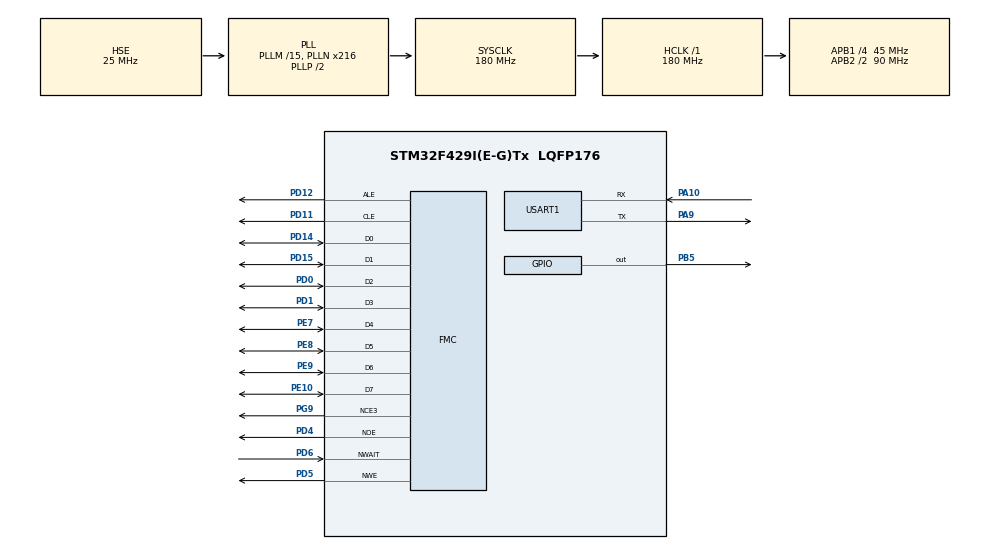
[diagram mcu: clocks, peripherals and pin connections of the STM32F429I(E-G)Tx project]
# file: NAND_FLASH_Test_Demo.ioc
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FMC.AttributeSpaceHiZSetupTime1=1
FMC.AttributeSpaceHoldSetupTime1=3
FMC.AttributeSpaceSetupTime1=2
FMC.AttributeSpaceWaitSetupTime1=3
FMC.CommonSpaceHiZSetupTime1=1
FMC.CommonSpaceHoldSetupTime1=3
FMC.CommonSpaceSetupTime1=2
FMC.CommonSpaceWaitSetupTime1=3
FMC.ECCPageSize1=FMC_NAND_ECC_PAGE_SIZE_2048BYTE
FMC.EccComputation1=FMC_NAND_ECC_DISABLE
FMC.NandBlockNbr1=2048
FMC.NandBlockSize1=64
FMC.NandExtraCommandEnable1=ENABLE
FMC.NandPageSize1=2048
FMC.NandPlaneNbr1=2
FMC.NandPlaneSize1=4096
FMC.NandSpareAreaSize1=64
FMC.TARSetupTime1=1
FMC.TCLRSetupTime1=0
Mcu.Family=STM32F4
Mcu.Name=STM32F429I(E-G)Tx
Mcu.Package=LQFP176
NVIC.PriorityGroup=NVIC_PRIORITYGROUP_4
PA10.Mode=Asynchronous
PA10.Signal=USART1_RX
PA13.Mode=Serial_Wire
PA13.Signal=SYS_JTMS-SWDIO
PA14.Mode=Serial_Wire
PA14.Signal=SYS_JTCK-SWCLK
PA9.Mode=Asynchronous
PA9.Signal=USART1_TX
PB5.Signal=GPIO_Output
PD0.Signal=FMC_D2_DA2
PD1.Signal=FMC_D3_DA3
PD11.Signal=FMC_A16_CLE
PD12.Signal=FMC_A17_ALE
PD14.Signal=FMC_D0_DA0
PD15.Signal=FMC_D1_DA1
PD4.Signal=FMC_NOE
PD5.Signal=FMC_NWE
PD6.Signal=FMC_NWAIT
PE10.Signal=FMC_D7_DA7
PE7.Signal=FMC_D4_DA4
PE8.Signal=FMC_D5_DA5
PE9.Signal=FMC_D6_DA6
PG9.Mode=NandChipSelect3_1
PG9.Signal=FMC_NCE3
PH0/OSC_IN.Mode=HSE-External-Oscillator
PH0/OSC_IN.Signal=RCC_OSC_IN
PH1/OSC_OUT.Mode=HSE-External-Oscillator
PH1/OSC_OUT.Signal=RCC_OSC_OUT
ProjectManager.HeapSize=0x200
ProjectManager.StackSize=0x400
ProjectManager.TargetToolchain=Makefile
RCC.48MHZClocksFreq_Value=90000000
RCC.AHBFreq_Value=180000000
RCC.APB1CLKDivider=RCC_HCLK_DIV4
RCC.APB1Freq_Value=45000000
RCC.APB1TimFreq_Value=90000000
RCC.APB2CLKDivider=RCC_HCLK_DIV2
RCC.APB2Freq_Value=90000000
RCC.APB2TimFreq_Value=180000000
RCC.CortexFreq_Value=180000000
RCC.HCLKFreq_Value=180000000
RCC.HSE_VALUE=25000000
RCC.HSI_VALUE=16000000
RCC.LSE_VALUE=32768
RCC.PLLM=15
RCC.PLLN=216
RCC.PLLSourceVirtual=RCC_PLLSOURCE_HSE
RCC.SYSCLKFreq_VALUE=180000000
RCC.SYSCLKSource=RCC_SYSCLKSOURCE_PLLCLK
RCC.VCOOutputFreq_Value=360000000
SH.FMC_A16_CLE.0=FMC_CLE,8b-dmux1
SH.FMC_A17_ALE.0=FMC_ALE,8b-dmux1
SH.FMC_D0_DA0.0=FMC_D0,8b-dmux1
SH.FMC_D1_DA1.0=FMC_D1,8b-dmux1
SH.FMC_D2_DA2.0=FMC_D2,8b-dmux1
SH.FMC_D3_DA3.0=FMC_D3,8b-dmux1
SH.FMC_D4_DA4.0=FMC_D4,8b-dmux1
SH.FMC_D5_DA5.0=FMC_D5,8b-dmux1
SH.FMC_D6_DA6.0=FMC_D6,8b-dmux1
SH.FMC_D7_DA7.0=FMC_D7,8b-dmux1
SH.FMC_NOE.0=FMC_NOE,8b-dmux1
SH.FMC_NWAIT.0=FMC_NWAIT,Wait1
SH.FMC_NWE.0=FMC_NWE,8b-dmux1
USART1.VirtualMode=VM_ASYNC
board=custom

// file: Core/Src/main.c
/* USER CODE BEGIN Header */
/**
 ******************************************************************************
 * @file           : main.c
 * @brief          : Main program body
 ******************************************************************************
 * @attention
 *
 * Copyright (c) 2025 STMicroelectronics.
 * All rights reserved.
 *
 * This software is licensed under terms that can be found in the LICENSE file
 * in the root directory of this software component.
 * If no LICENSE file comes with this software, it is provided AS-IS.
 *
 ******************************************************************************
 */
/* USER CODE END Header */
#include "main.h"
#include "usart.h"
#include "gpio.h"
#include "fmc.h"

/* USER CODE BEGIN Includes */
#include "user_printf.h"
#include "string.h"
/* USER CODE END Includes */

/* USER CODE BEGIN PTD */
#define NAND_PAGE_SIZE 2048
/* USER CODE END PTD */

void SystemClock_Config(void);

/* USER CODE BEGIN 0 */
NAND_AddressTypeDef temp;
NAND_IDTypeDef id_info;
uint8_t buf[NAND_PAGE_SIZE];

/* USER CODE END 0 */

int main(void)
{

  /* MCU Configuration--------------------------------------------------------*/

  /* Reset of all peripherals, Initializes the Flash interface and the Systick. */
  HAL_Init();

  /* Configure the system clock */
  SystemClock_Config();

  /* Initialize all configured peripherals */
  MX_GPIO_Init();
  MX_FMC_Init();
  MX_USART1_UART_Init();
  /* USER CODE BEGIN 2 */
    temp.Block = 0;
    temp.Page  = 0;
    temp.Plane = 0;
    RetargetInit(&huart1);
    printf("hello world\r\n");

    HAL_NAND_Reset(&hnand1);
    printf("read id.\r\n");
    HAL_NAND_Read_ID(&hnand1, &id_info);
    printf("id:0x%x%x%x%x.\r\n", id_info.Maker_Id, id_info.Device_Id, id_info.Third_Id, id_info.Fourth_Id);

    printf("erase page 0.\r\n");
    HAL_NAND_Erase_Block(&hnand1, &temp);
    printf("erase done.\r\n");

    printf("read page 0.\r\n");
    memset(buf, 0, NAND_PAGE_SIZE);
    HAL_NAND_Read_Page_8b(&hnand1, &temp, buf, 1);
    for (int i = 0; i < NAND_PAGE_SIZE; i++) {
        if ((i % 5) == 0) printf("\r\n");
        printf("buf[%04d] = 0x%02X ", i, buf[i]);
    }
    printf("\r\n");

    printf("write page 0.\r\n");
    for (int i = 0; i < NAND_PAGE_SIZE; i++) {
        buf[i] = i & 0x00FF;
    }
    HAL_NAND_Write_Page_8b(&hnand1, &temp, buf, 1);

    printf("read page 0.\r\n");
    memset(buf, 0, NAND_PAGE_SIZE);
    HAL_NAND_Read_Page_8b(&hnand1, &temp, buf, 1);
    for (int i = 0; i < NAND_PAGE_SIZE; i++) {
        if ((i % 5) == 0) printf("\r\n");
        printf("buf[%04d] = 0x%02X ", i, buf[i]);
    }
    printf("\r\n");
  /* USER CODE END 2 */

  /* Infinite loop */
    while (1) {

    /* USER CODE BEGIN 3 */

        HAL_Delay(1000);
    }
  /* USER CODE END 3 */
}

void SystemClock_Config(void)
{
  RCC_OscInitTypeDef RCC_OscInitStruct = {0};
  RCC_ClkInitTypeDef RCC_ClkInitStruct = {0};

  /** Configure the main internal regulator output voltage
  */
  __HAL_RCC_PWR_CLK_ENABLE();
  __HAL_PWR_VOLTAGESCALING_CONFIG(PWR_REGULATOR_VOLTAGE_SCALE1);

  /** Initializes the RCC Oscillators according to the specified parameters
  * in the RCC_OscInitTypeDef structure.
  */
  RCC_OscInitStruct.OscillatorType = RCC_OSCILLATORTYPE_HSE;
  RCC_OscInitStruct.HSEState = RCC_HSE_ON;
  RCC_OscInitStruct.PLL.PLLState = RCC_PLL_ON;
  RCC_OscInitStruct.PLL.PLLSource = RCC_PLLSOURCE_HSE;
  RCC_OscInitStruct.PLL.PLLM = 15;
  RCC_OscInitStruct.PLL.PLLN = 216;
  RCC_OscInitStruct.PLL.PLLP = RCC_PLLP_DIV2;
  RCC_OscInitStruct.PLL.PLLQ = 4;
  if (HAL_RCC_OscConfig(&RCC_OscInitStruct) != HAL_OK)
  {
    Error_Handler();
  }

  /** Activate the Over-Drive mode
  */
  if (HAL_PWREx_EnableOverDrive() != HAL_OK)
  {
    Error_Handler();
  }

  /** Initializes the CPU, AHB and APB buses clocks
  */
  RCC_ClkInitStruct.ClockType = RCC_CLOCKTYPE_HCLK|RCC_CLOCKTYPE_SYSCLK
                              |RCC_CLOCKTYPE_PCLK1|RCC_CLOCKTYPE_PCLK2;
  RCC_ClkInitStruct.SYSCLKSource = RCC_SYSCLKSOURCE_PLLCLK;
  RCC_ClkInitStruct.AHBCLKDivider = RCC_SYSCLK_DIV1;
  RCC_ClkInitStruct.APB1CLKDivider = RCC_HCLK_DIV4;
  RCC_ClkInitStruct.APB2CLKDivider = RCC_HCLK_DIV2;

  if (HAL_RCC_ClockConfig(&RCC_ClkInitStruct, FLASH_LATENCY_5) != HAL_OK)
  {
    Error_Handler();
  }
}

void Error_Handler(void)
{
    __disable_irq();
    while (1) {
    }
}
